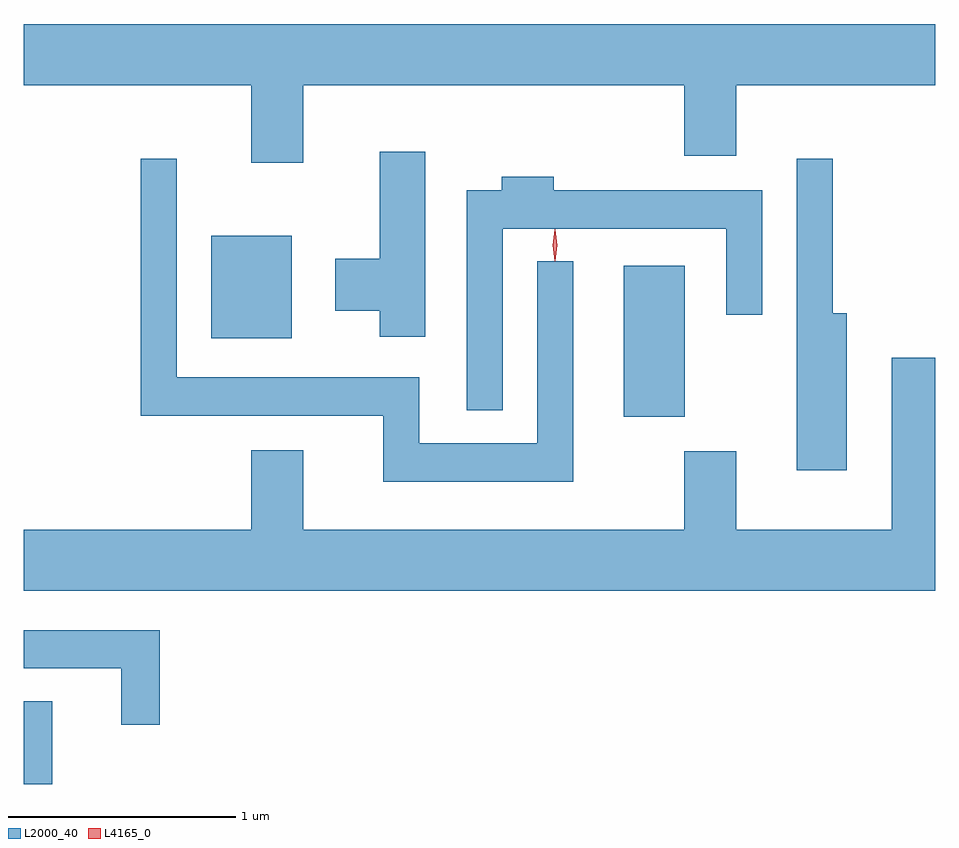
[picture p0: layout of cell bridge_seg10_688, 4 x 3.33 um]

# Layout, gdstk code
import gdstk
lib = gdstk.Library(unit=1e-6, precision=1e-09)
def R(c, l, rs):  # rectangles x0, y0, x1, y1
    for r in rs: c.add(gdstk.rectangle(r[:2], r[2:], *l))
def P(c, l, *ps):  # polygons
    for p in ps: c.add(gdstk.Polygon(p, *l))
L2000_40 = (2000, 40)
L4165_0 = (4165, 0)

bridge_seg10_688 = lib.new_cell('bridge_seg10_688')
R(bridge_seg10_688, L2000_40, [(1049.933,2113.069,1050.059,2113.433), (1052.566,2114.681,1052.834,2115.344), (1050.756,2115.026,1051.109,2115.474)])
P(bridge_seg10_688, L2000_40, [(1051.159,2116.136),(1052.831,2116.136),(1052.831,2115.826),(1053.059,2115.826),(1053.059,2116.136),(1053.933,2116.136),(1053.933,2116.404),(1049.933,2116.404),(1049.933,2116.136),(1050.931,2116.136),(1050.931,2115.796),(1051.159,2115.796)],
  [(1051.694,2115.844),(1051.496,2115.844),(1051.496,2115.374),(1051.301,2115.374),(1051.301,2115.146),(1051.496,2115.146),(1051.496,2115.031),(1051.694,2115.031)],
  [(1053.544,2115.134),(1053.484,2115.134),(1053.484,2115.813),(1053.326,2115.813),(1053.326,2114.446),(1053.544,2114.446)],
  [(1052.344,2115.363),(1052.186,2115.363),(1052.186,2114.564),(1051.669,2114.564),(1051.669,2114.854),(1050.604,2114.854),(1050.604,2115.813),(1050.446,2115.813),(1050.446,2114.686),(1051.511,2114.686),(1051.511,2114.396),(1052.344,2114.396)],
  [(1052.034,2115.506),(1053.016,2115.506),(1053.016,2115.128),(1053.174,2115.128),(1053.174,2115.674),(1052.259,2115.674),(1052.259,2115.734),(1052.031,2115.734),(1052.031,2115.674),(1051.876,2115.674),(1051.876,2114.708),(1052.034,2114.708)],
  [(1053.933,2114.939),(1053.741,2114.939),(1053.741,2114.184),(1053.059,2114.184),(1053.059,2114.529),(1052.831,2114.529),(1052.831,2114.184),(1051.159,2114.184),(1051.159,2114.534),(1050.931,2114.534),(1050.931,2114.184),(1049.933,2114.184),(1049.933,2113.916),(1053.933,2113.916)],
  [(1050.529,2113.744),(1049.933,2113.744),(1049.933,2113.576),(1050.361,2113.576),(1050.361,2113.328),(1050.529,2113.328)])
P(bridge_seg10_688, L4165_0, [(1052.264,2115.367),(1052.254,2115.434),(1052.264,2115.5),(1052.264,2115.5),(1052.265,2115.5),(1052.274,2115.434),(1052.265,2115.367),(1052.265,2115.367)],
  [(1052.264,2115.364),(1052.255,2115.434),(1052.264,2115.503),(1052.265,2115.503),(1052.265,2115.503),(1052.275,2115.434),(1052.265,2115.364),(1052.265,2115.364)])

lib.write_gds('bridge_seg10_688.gds')
